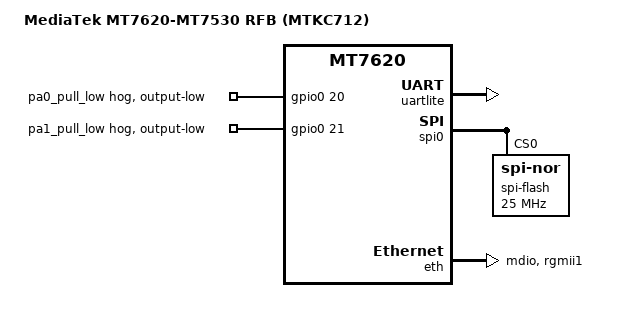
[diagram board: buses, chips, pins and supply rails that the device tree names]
// SPDX-License-Identifier: GPL-2.0
/*
 * Copyright (C) 2020 MediaTek Inc.
 *
 * Author: Weijie Gao <weijie.gao@mediatek.com>
 */

/dts-v1/;

#include <dt-bindings/gpio/gpio.h>
#include "mt7620.dtsi"

/ {
	compatible = "mediatek,mt7620-mt7530-rfb", "mediatek,mt7620-soc";
	model = "MediaTek MT7620-MT7530 RFB (MTKC712)";

	aliases {
		serial0 = &uartlite;
		spi0 = &spi0;
	};

	chosen {
		stdout-path = &uartlite;
	};
};

&uartlite {
	status = "okay";
};

&pinctrl {
	state_default: pin_state {
		pleds {
			groups = "ephy led", "wled";
			function = "led";
		};

		gpios {
			groups = "pa", "uartf";
			function = "gpio";
		};
	};

	gsw_pins: gsw_pins {
		mdio {
			groups = "mdio";
			function = "mdio";
		};

		rgmii1 {
			groups = "rgmii1";
			function = "rgmii1";
		};
	};
};

&spi0 {
	status = "okay";
	num-cs = <2>;

	spi-flash@0 {
		#address-cells = <1>;
		#size-cells = <1>;
		compatible = "jedec,spi-nor";
		spi-max-frequency = <25000000>;
		reg = <0>;
	};
};

&gpio0 {
	pa0_pull_low {
		gpio-hog;
		output-low;
		gpios = <20 GPIO_ACTIVE_HIGH>;
	};

	pa1_pull_low {
		gpio-hog;
		output-low;
		gpios = <21 GPIO_ACTIVE_HIGH>;
	};
};

&eth {
	status = "okay";

	pinctrl-names = "default";
	pinctrl-0 = <&gsw_pins>;

	port5 {
		phy-mode = "rgmii";
		phy-addr = <5>;
		fixed-link {
			full-duplex;
			speed = <1000>;
			mediatek,mt7530;
			mediatek,mt7530-reset = <&gpio0 10 GPIO_ACTIVE_HIGH>;
		};
	};
};
